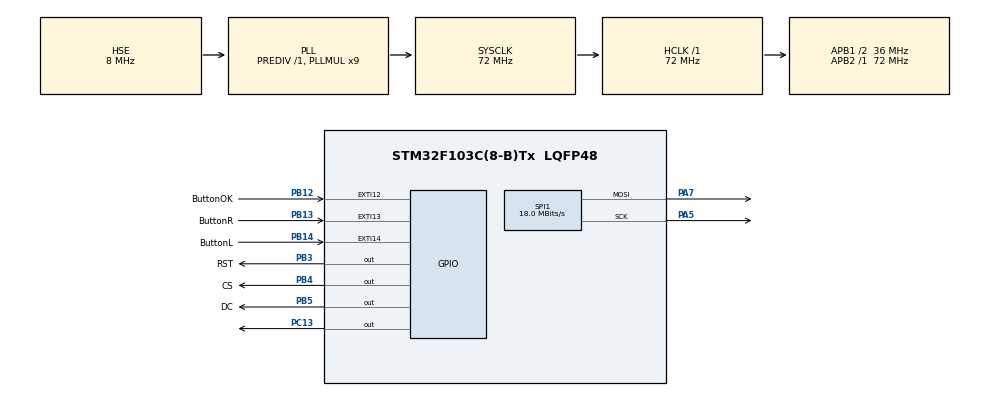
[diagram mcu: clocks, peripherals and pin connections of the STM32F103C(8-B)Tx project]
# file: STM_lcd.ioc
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Mcu.Family=STM32F1
PB14.GPIO_ModeDefaultEXTI=GPIO_MODE_IT_FALLING
RCC.PLLSourceVirtual=RCC_PLLSOURCE_HSE
PA7.Mode=TX_Only_Simplex_Unidirect_Master
PD1-OSC_OUT.Mode=HSE-External-Oscillator
SPI1.VirtualType=VM_MASTER
PB14.GPIO_Label=ButtonL
PC13-TAMPER-RTC.Signal=GPIO_Output
RCC.USBPrescaler=RCC_USBCLKSOURCE_PLL_DIV1_5
NVIC.TIM1_UP_IRQn=true\:0\:0\:false\:false\:true\:true\:true
SPI1.CLKPhase=SPI_PHASE_2EDGE
PD0-OSC_IN.Signal=RCC_OSC_IN
RCC.APB1CLKDivider=RCC_HCLK_DIV2
PB13.GPIO_Label=ButtonR
PB13.Signal=GPXTI13
VP_SYS_VS_ND.Mode=No_Debug
PB13.GPIO_ModeDefaultEXTI=GPIO_MODE_IT_FALLING
RCC.SYSCLKSource=RCC_SYSCLKSOURCE_PLLCLK
ProjectManager.StackSize=0x400
PD1-OSC_OUT.Signal=RCC_OSC_OUT
TIM1.Prescaler=36000
SPI1.CLKPolarity=SPI_POLARITY_HIGH
ProjectManager.TargetToolchain=STM32CubeIDE
SPI1.Direction=SPI_DIRECTION_2LINES
RCC.HCLKFreq_Value=72000000
RCC.APB2TimFreq_Value=72000000
SPI1.CalculateBaudRate=18.0 MBits/s
RCC.USBFreq_Value=48000000
RCC.AHBFreq_Value=72000000
PD0-OSC_IN.Mode=HSE-External-Oscillator
NVIC.EXTI15_10_IRQn=true\:0\:0\:false\:false\:true\:true\:true
PB14.Signal=GPXTI14
PA5.Signal=SPI1_SCK
NVIC.TIM1_TRG_COM_IRQn=true\:0\:0\:false\:false\:true\:true\:true
board=custom
RCC.PLLMUL=RCC_PLL_MUL9
PB12.GPIO_Label=ButtonOK
PB13.GPIO_PuPd=GPIO_PULLUP
RCC.APB2Freq_Value=72000000
PB4.GPIO_Label=CS
SPI1.Mode=SPI_MODE_MASTER
Mcu.Name=STM32F103C(8-B)Tx
VP_TIM1_VS_ClockSourceINT.Mode=Internal
NVIC.TIM1_CC_IRQn=true\:0\:0\:false\:false\:true\:true\:true
PB3.Signal=GPIO_Output
RCC.SYSCLKFreq_VALUE=72000000
Mcu.Package=LQFP48
PB5.Signal=GPIO_Output
PB14.GPIO_PuPd=GPIO_PULLUP
NVIC.TIM1_BRK_IRQn=true\:0\:0\:false\:false\:true\:true\:true
ProjectManager.HeapSize=0x200
PB12.GPIO_ModeDefaultEXTI=GPIO_MODE_IT_FALLING
NVIC.PriorityGroup=NVIC_PRIORITYGROUP_4
PB5.GPIO_Label=DC
RCC.APB1TimFreq_Value=72000000
TIM1.Period=100
PB12.GPIO_PuPd=GPIO_PULLUP
RCC.APB1Freq_Value=36000000
SPI1.BaudRatePrescaler=SPI_BAUDRATEPRESCALER_4
PB12.Signal=GPXTI12
PB4.Signal=GPIO_Output
PA5.Mode=TX_Only_Simplex_Unidirect_Master
PA7.Signal=SPI1_MOSI
PB3.GPIO_Label=RST

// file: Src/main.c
/* USER CODE BEGIN Header */
/**
  ******************************************************************************
  * @file           : main.c
  * @brief          : Main program body
  ******************************************************************************
  * @attention
  *
  * <h2><center>&copy; Copyright (c) 2020 STMicroelectronics.
  * All rights reserved.</center></h2>
  *
  * This software component is licensed by ST under BSD 3-Clause license,
  * the "License"; You may not use this file except in compliance with the
  * License. You may obtain a copy of the License at:
  *                        opensource.org/licenses/BSD-3-Clause
  *
  ******************************************************************************
  */
/* USER CODE END Header */

#include <stdbool.h>
#include "main.h"

/* USER CODE BEGIN Includes */
#include "ssd1306.h"
#include "oledmenu.h"
#include "recipe.h"
/* USER CODE END Includes */

#pragma clang diagnostic push
#pragma ide diagnostic ignored "EndlessLoop"
SPI_HandleTypeDef hspi1;

TIM_HandleTypeDef htim1;

/* USER CODE BEGIN PV */
int current_recipe = 0;
int selection_level = 0;
int selection_level2 = 1;
struct Recipe recipes_array[30];
bool debounceState = true;
/* USER CODE END PV */

void SystemClock_Config(void);

static void MX_GPIO_Init(void);

static void MX_SPI1_Init(void);

static void MX_TIM1_Init(void);

/* USER CODE BEGIN PFP */
void HAL_GPIO_EXTI_Callback(uint16_t GPIO_Pin) {
    if (GPIO_Pin == ButtonL_Pin && debounceState == true) {
        HAL_TIM_Base_Start_IT(&htim1);
        debounceState = false;
    } else {
        __NOP();
    }

    if (GPIO_Pin == ButtonR_Pin && debounceState == true) {
        HAL_TIM_Base_Start_IT(&htim1);
        debounceState = false;
    } else {
        __NOP();
    }

    if (GPIO_Pin == ButtonOK_Pin && debounceState == true) {
        HAL_TIM_Base_Start_IT(&htim1);
        debounceState = false;
    } else {
        __NOP();
    }
}

/*
 * Selection levels:
 * selection_level (selecting recipe/time):
 * 0 - main screen; selecting recipe
 * 1 - main screen; selecting time (baking level)
 * 2 - confirmation screen
 *
 * selection_level_2 (selecting low/med./high):
 * 0 - selected time Low
 * 1 - selected time Med.
 * 2 - selected time High
 */
void HAL_TIM_PeriodElapsedCallback(TIM_HandleTypeDef *htim) {
    UNUSED(htim);

    // LEFT BUTTON HANDLING
    if (HAL_GPIO_ReadPin(ButtonL_GPIO_Port, ButtonL_Pin) == GPIO_PIN_RESET) {
        switch (selection_level) {
            case 0: // selecting recipe
                if (current_recipe > 0) {
                    current_recipe--; //TODO - here baking function will be called
                }
                break;
            case 1: // selecting time
                if (selection_level2 > 0) selection_level2--;
                break;
            default:
                break;
        }
        debounceState = true;
        HAL_TIM_Base_Stop_IT(&htim1);
    }

    // RIGHT BUTTON HANDLING
    if (HAL_GPIO_ReadPin(ButtonR_GPIO_Port, ButtonR_Pin) == GPIO_PIN_RESET) {
        switch (selection_level) {
            case 0: // selecting recipe
                if (current_recipe >= 0 && current_recipe < MAX_RECIPES) {
                    current_recipe++; //TODO - here baking function will be called
                }
                break;
            case 1: // selecting time
                if (selection_level2 < 2) selection_level2++;
                break;
            default:
                break;
        }
        debounceState = true;
        HAL_TIM_Base_Stop_IT(&htim1);
    }

    // OK BUTTON HANDLING
    if (HAL_GPIO_ReadPin(ButtonOK_GPIO_Port, ButtonOK_Pin) == GPIO_PIN_RESET) {
        selection_level++;
        debounceState = true;
        HAL_TIM_Base_Stop_IT(&htim1);
    }
}
/* USER CODE END PFP */

int main(void) {
    /* USER CODE BEGIN 1 */
    current_recipe = 0;
    recipes_array[0].name = "pierwszy";
    recipes_array[0].time1 = 60;
    recipes_array[0].time2 = 75;
    recipes_array[0].time3 = 90;
    recipes_array[1].name = "drugi";
    recipes_array[1].time1 = 100;
    recipes_array[1].time2 = 120;
    recipes_array[1].time3 = 140;
    /* USER CODE END 1 */

    /* MCU Configuration--------------------------------------------------------*/

    /* Reset of all peripherals, Initializes the Flash interface and the Systick. */
    HAL_Init();

    /* Configure the system clock */
    SystemClock_Config();

    /* Initialize all configured peripherals */
    MX_GPIO_Init();
    MX_SPI1_Init();
    MX_TIM1_Init();
    /* USER CODE BEGIN 2 */
    ssd1306_Init();
    oledmenu_display_splash();
    HAL_Delay(500);
    /* USER CODE END 2 */

    /* Infinite loop */
    /* USER CODE BEGIN WHILE */
    while (1) {
        if (selection_level == 0 || selection_level == 1) { // selecting recipe OR time
            oledmenu_display_recipe(current_recipe, selection_level, selection_level2);
        } else if (selection_level == 2) { // confirming earlier selection
            oledmenu_display_confirm_screen(current_recipe, selection_level2);
        }
        /* USER CODE END WHILE */

    }
}

void SystemClock_Config(void) {
    RCC_OscInitTypeDef RCC_OscInitStruct = {0};
    RCC_ClkInitTypeDef RCC_ClkInitStruct = {0};

    /** Initializes the CPU, AHB and APB busses clocks
    */
    RCC_OscInitStruct.OscillatorType = RCC_OSCILLATORTYPE_HSE;
    RCC_OscInitStruct.HSEState = RCC_HSE_ON;
    RCC_OscInitStruct.HSEPredivValue = RCC_HSE_PREDIV_DIV1;
    RCC_OscInitStruct.HSIState = RCC_HSI_ON;
    RCC_OscInitStruct.PLL.PLLState = RCC_PLL_ON;
    RCC_OscInitStruct.PLL.PLLSource = RCC_PLLSOURCE_HSE;
    RCC_OscInitStruct.PLL.PLLMUL = RCC_PLL_MUL9;
    if (HAL_RCC_OscConfig(&RCC_OscInitStruct) != HAL_OK) {
        Error_Handler();
    }
    /** Initializes the CPU, AHB and APB busses clocks
    */
    RCC_ClkInitStruct.ClockType = RCC_CLOCKTYPE_HCLK | RCC_CLOCKTYPE_SYSCLK
                                  | RCC_CLOCKTYPE_PCLK1 | RCC_CLOCKTYPE_PCLK2;
    RCC_ClkInitStruct.SYSCLKSource = RCC_SYSCLKSOURCE_PLLCLK;
    RCC_ClkInitStruct.AHBCLKDivider = RCC_SYSCLK_DIV1;
    RCC_ClkInitStruct.APB1CLKDivider = RCC_HCLK_DIV2;
    RCC_ClkInitStruct.APB2CLKDivider = RCC_HCLK_DIV1;

    if (HAL_RCC_ClockConfig(&RCC_ClkInitStruct, FLASH_LATENCY_2) != HAL_OK) {
        Error_Handler();
    }
}

static void MX_SPI1_Init(void) {

    /* SPI1 parameter configuration*/
    hspi1.Instance = SPI1;
    hspi1.Init.Mode = SPI_MODE_MASTER;
    hspi1.Init.Direction = SPI_DIRECTION_2LINES;
    hspi1.Init.DataSize = SPI_DATASIZE_8BIT;
    hspi1.Init.CLKPolarity = SPI_POLARITY_HIGH;
    hspi1.Init.CLKPhase = SPI_PHASE_2EDGE;
    hspi1.Init.NSS = SPI_NSS_SOFT;
    hspi1.Init.BaudRatePrescaler = SPI_BAUDRATEPRESCALER_4;
    hspi1.Init.FirstBit = SPI_FIRSTBIT_MSB;
    hspi1.Init.TIMode = SPI_TIMODE_DISABLE;
    hspi1.Init.CRCCalculation = SPI_CRCCALCULATION_DISABLE;
    hspi1.Init.CRCPolynomial = 10;
    if (HAL_SPI_Init(&hspi1) != HAL_OK) {
        Error_Handler();
    }

}

static void MX_TIM1_Init(void) {

    TIM_ClockConfigTypeDef sClockSourceConfig = {0};
    TIM_MasterConfigTypeDef sMasterConfig = {0};

    htim1.Instance = TIM1;
    htim1.Init.Prescaler = 36000;
    htim1.Init.CounterMode = TIM_COUNTERMODE_UP;
    htim1.Init.Period = 100;
    htim1.Init.ClockDivision = TIM_CLOCKDIVISION_DIV1;
    htim1.Init.RepetitionCounter = 0;
    htim1.Init.AutoReloadPreload = TIM_AUTORELOAD_PRELOAD_DISABLE;
    if (HAL_TIM_Base_Init(&htim1) != HAL_OK) {
        Error_Handler();
    }
    sClockSourceConfig.ClockSource = TIM_CLOCKSOURCE_INTERNAL;
    if (HAL_TIM_ConfigClockSource(&htim1, &sClockSourceConfig) != HAL_OK) {
        Error_Handler();
    }
    sMasterConfig.MasterOutputTrigger = TIM_TRGO_RESET;
    sMasterConfig.MasterSlaveMode = TIM_MASTERSLAVEMODE_DISABLE;
    if (HAL_TIMEx_MasterConfigSynchronization(&htim1, &sMasterConfig) != HAL_OK) {
        Error_Handler();
    }

}

static void MX_GPIO_Init(void) {
    GPIO_InitTypeDef GPIO_InitStruct = {0};

    /* GPIO Ports Clock Enable */
    __HAL_RCC_GPIOC_CLK_ENABLE();
    __HAL_RCC_GPIOD_CLK_ENABLE();
    __HAL_RCC_GPIOA_CLK_ENABLE();
    __HAL_RCC_GPIOB_CLK_ENABLE();

    /*Configure GPIO pin Output Level */
    HAL_GPIO_WritePin(GPIOC, GPIO_PIN_13, GPIO_PIN_RESET);

    /*Configure GPIO pin Output Level */
    HAL_GPIO_WritePin(GPIOB, RST_Pin | CS_Pin | DC_Pin, GPIO_PIN_RESET);

    /*Configure GPIO pin : PC13 */
    GPIO_InitStruct.Pin = GPIO_PIN_13;
    GPIO_InitStruct.Mode = GPIO_MODE_OUTPUT_PP;
    GPIO_InitStruct.Pull = GPIO_NOPULL;
    GPIO_InitStruct.Speed = GPIO_SPEED_FREQ_LOW;
    HAL_GPIO_Init(GPIOC, &GPIO_InitStruct);

    /*Configure GPIO pins : ButtonOK_Pin ButtonR_Pin ButtonL_Pin */
    GPIO_InitStruct.Pin = ButtonOK_Pin | ButtonR_Pin | ButtonL_Pin;
    GPIO_InitStruct.Mode = GPIO_MODE_IT_FALLING;
    GPIO_InitStruct.Pull = GPIO_PULLUP;
    HAL_GPIO_Init(GPIOB, &GPIO_InitStruct);

    /*Configure GPIO pins : RST_Pin CS_Pin DC_Pin */
    GPIO_InitStruct.Pin = RST_Pin | CS_Pin | DC_Pin;
    GPIO_InitStruct.Mode = GPIO_MODE_OUTPUT_PP;
    GPIO_InitStruct.Pull = GPIO_NOPULL;
    GPIO_InitStruct.Speed = GPIO_SPEED_FREQ_LOW;
    HAL_GPIO_Init(GPIOB, &GPIO_InitStruct);

    /* EXTI interrupt init*/
    HAL_NVIC_SetPriority(EXTI15_10_IRQn, 0, 0);
    HAL_NVIC_EnableIRQ(EXTI15_10_IRQn);

}

void Error_Handler(void) {
}

/************************ (C) COPYRIGHT STMicroelectronics *****END OF FILE****/

#pragma clang diagnostic pop
